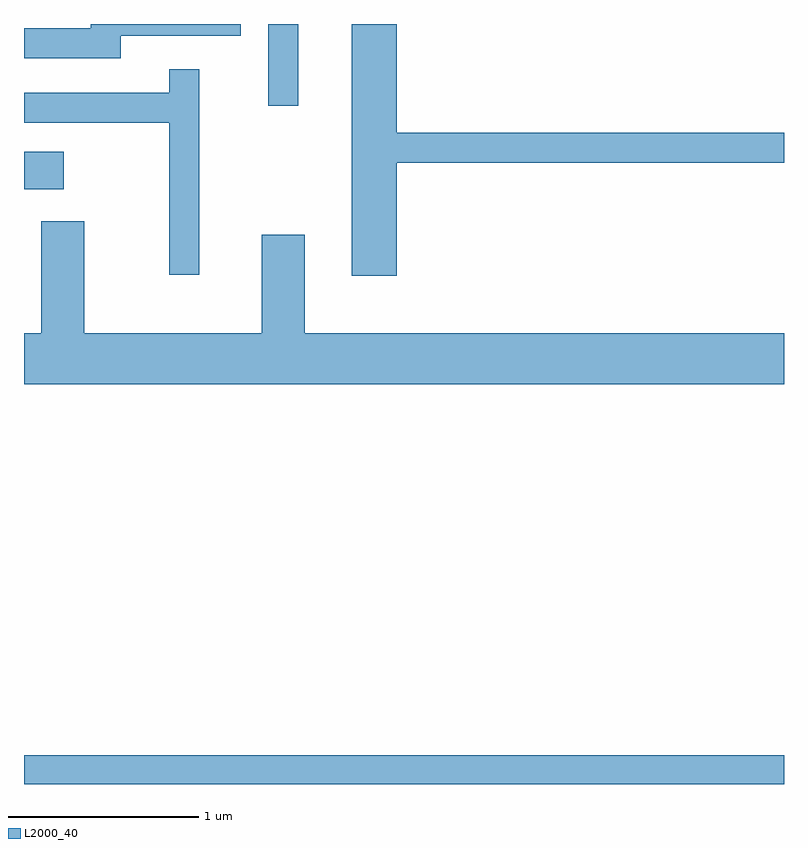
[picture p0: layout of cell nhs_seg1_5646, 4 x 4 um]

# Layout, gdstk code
import gdstk
lib = gdstk.Library(unit=1e-6, precision=1e-09)
def R(c, l, rs):  # rectangles x0, y0, x1, y1
    for r in rs: c.add(gdstk.rectangle(r[:2], r[2:], *l))
def P(c, l, *ps):  # polygons
    for p in ps: c.add(gdstk.Polygon(p, *l))
L2000_40 = (2000, 40)

nhs_seg1_5646 = lib.new_cell('nhs_seg1_5646')
R(nhs_seg1_5646, L2000_40, [(355.611,879.712,359.611,879.864), (355.611,882.841,355.819,883.039), (356.896,883.283,357.054,883.712)])
P(nhs_seg1_5646, L2000_40, [(357.574,882.981),(359.611,882.981),(359.611,883.139),(357.574,883.139),(357.574,883.712),(357.336,883.712),(357.336,882.386),(357.574,882.386)],
  [(356.119,883.651),(356.753,883.651),(356.753,883.712),(355.961,883.712),(355.961,883.689),(355.611,883.689),(355.611,883.531),(356.119,883.531)],
  [(356.534,883.473),(356.376,883.473),(356.376,883.349),(355.611,883.349),(355.611,883.191),(356.376,883.191),(356.376,882.393),(356.534,882.393)],
  [(359.611,882.084),(357.089,882.084),(357.089,882.604),(356.861,882.604),(356.861,882.084),(355.929,882.084),(355.929,882.674),(355.701,882.674),(355.701,882.084),(355.611,882.084),(355.611,881.816),(359.611,881.816)])

lib.write_gds('nhs_seg1_5646.gds')
